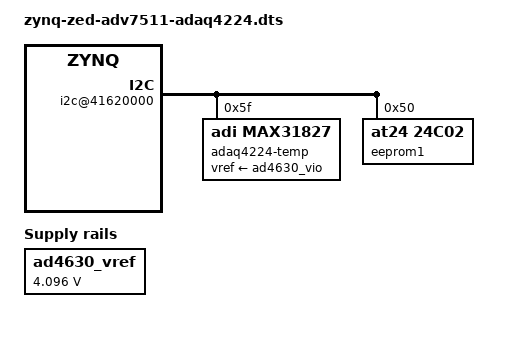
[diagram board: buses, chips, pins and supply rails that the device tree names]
// SPDX-License-Identifier: GPL-2.0
/*
 * Analog Devices ADAQ4224
 *
 * hdl_project: <ad4630_fmc/zed>
 * board_revision: <B>
 *
 * Copyright (C) 2026 Analog Devices Inc.
 */
/dts-v1/;
#include "zynq-zed-adv7511-ad4630.dtsi"


&ad4630_vref {
	regulator-min-microvolt = <4096000>;
	regulator-max-microvolt = <4096000>;
};

&fpga_axi {
	i2c@41620000 {
		compatible = "xlnx,axi-iic-1.01.b", "xlnx,xps-iic-2.00.a";
		reg = <0x41620000 0x10000>;
		interrupt-parent = <&intc>;
		interrupts = <0 55 IRQ_TYPE_LEVEL_HIGH>;
		clocks = <&clkc 15>;
		clock-names = "pclk";
		#size-cells = <0>;
		#address-cells = <1>;

		max31827: max31827@5f {
			compatible = "adi,max31827";
			label = "adaq4224-temp";
			reg = <0x5f>;
			vref-supply = <&ad4630_vio>;
			adi,comp-int;
			adi,alarm-pol = <0>;
			adi,fault-q = <1>;
			adi,timeout-enable;
		};

		eeprom1: eeprom@50 {
			compatible = "at24,24c02";
			reg = <0x50>;
		};
	};
};

&ad4630_adc {
	compatible = "adi,adaq4224";
	adi,pga-gpios = <&gpio0 87 GPIO_ACTIVE_HIGH>,
			<&gpio0 88 GPIO_ACTIVE_HIGH>;
};
